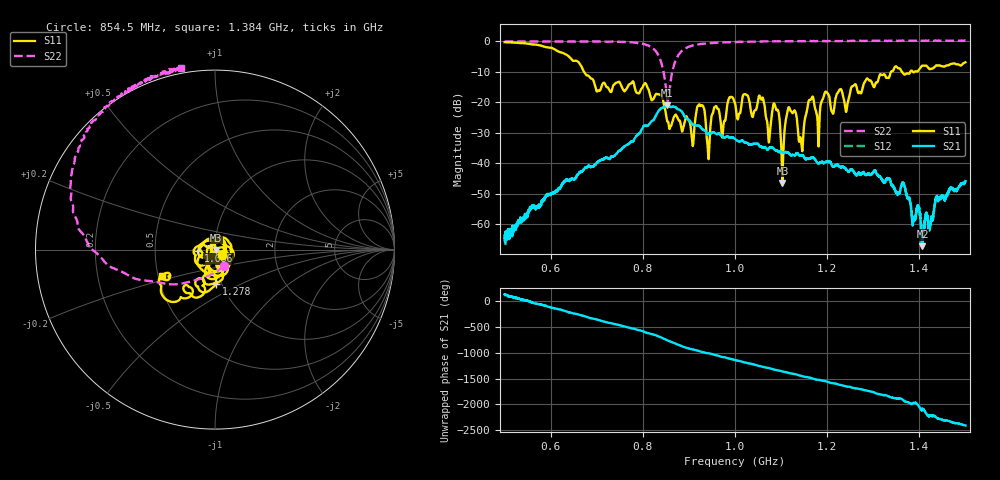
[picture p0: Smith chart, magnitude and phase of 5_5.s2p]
!Keysight Technologies,N5242B,MY48420860,A.13.80.08
!Date: Saturday, September 26, 2020 13:13:30
!Correction: S11(Full 2 Port(1,2))
!S21(Full 2 Port(1,2))
!S12(Full 2 Port(1,2))
!S22(Full 2 Port(1,2))
!S2P File: Measurements: S11, S21, S12, S22:
# Hz S  dB  R 50
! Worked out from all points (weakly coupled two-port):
!   2650 points, 500 MHz to 1.5 GHz, reference 50 ohm
!   highest |S21| = -20.96 dB at 851.8 MHz (marker M1); lowest = -67.3 dB at 1.407 GHz (marker M2)
!   lowest |S11| = -46.5 dB at 1.103 GHz (marker M3), VSWR 1.01, Z = 50.4 - j0.238 ohm
!   |S11| at or under -10 dB: 672.5 MHz to 1.338 GHz (665.9 MHz wide, 66.2 % of centre); 1.362 GHz to 1.38 GHz (17.98 MHz wide, 1.31 % of centre); 1.386078 GHz to 1.389215 GHz (3.137 MHz wide, 0.226 % of centre)
!   |S22| runs from -19.5 to 0.3 dB; largest |S21 - S12| = 0.0004
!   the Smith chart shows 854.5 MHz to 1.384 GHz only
!   S11 on the Smith chart (normalised r, x): 854.5 MHz: 1.08, -0.06; 1.086 GHz: 0.83, -0.01; 1.278 GHz: 0.94, -0.37; 1.384 GHz: 0.53, -0.18
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5e8  -0.23 -166.2  -64.41 128.0  -65.70 139.5  -0.03 147.1
6.041903e8  -2.25 126.1  -49.71 -129.3  -49.68 -129.1  -0.03 138.8
6.668554e8  -8.23 73.0  -42.79 83.9  -42.76 84.3  -0.04 132.5
8.337108e8  -17.35 5.1  -22.89 40.4  -22.91 40.3  -4.55 64.3
8.518309e8  -25.44 -44.9  -20.96 -33.1  -20.98 -33.3  -17.54 -13.5
8.544734e8  -26.34 -37.4  -21.11 -44.2  -21.14 -44.3  -19.44 -61.8
8.94111e8  -24.60 50.1  -25.27 179.4  -25.28 179.3  -2.15 169.0
9.280861e8  -20.92 -16.6  -28.68 96.4  -28.69 96.1  -0.79 150.7
9.420536e8  -37.93 -40.8  -30.32 71.4  -30.35 71.0  -0.59 146.4
9.556436e8  -21.55 -29.8  -29.97 38.9  -29.97 39.0  -0.47 143.2
1.000189e9  -20.39 -114.2  -32.09 -63.1  -32.11 -63.4  -0.17 135.4
1.085504e9  -20.45 -175.4  -35.43 113.1  -35.46 112.7  0.06 125.6
1.102869e9  -46.47 -29.8  -36.36 78.1  -36.44 78.6  0.01 123.6
1.115704e9  -21.80 -178.5  -36.50 51.2  -36.56 51.2  0.09 122.5
1.143262e9  -32.60 -75.6  -37.38 -4.5  -37.41 -5.0  0.07 120.2
1.166667e9  -18.54 -47.5  -38.14 -52.7  -38.22 -52.8  0.08 118.0
1.179502e9  -27.15 -101.2  -39.99 -81.5  -39.96 -82.2  0.13 117.1
1.278407e9  -14.33 -88.5  -43.18 80.9  -43.02 81.3  0.20 109.0
1.333522e9  -12.02 -122.6  -45.01 -45.6  -45.19 -44.2  0.28 104.4
1.384107e9  -9.64 -153.2  -58.40 170.3  -58.85 173.9  0.26 100.5
1.406757e9  -7.95 -157.9  -67.25 84.2  -64.90 58.3  0.23 98.7
1.5e9  -6.84 167.4  -45.87 111.9  -46.20 111.9  0.22 90.8
